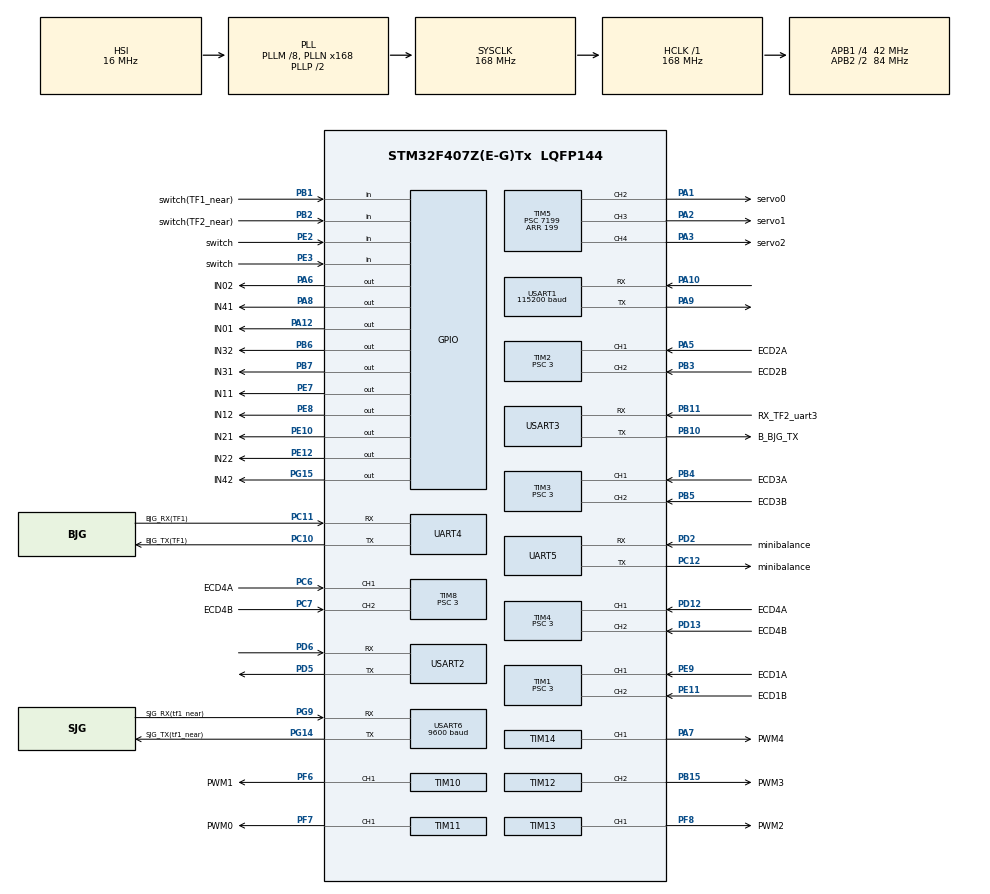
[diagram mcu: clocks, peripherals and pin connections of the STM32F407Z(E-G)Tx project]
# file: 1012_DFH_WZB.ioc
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Dma.Request0=USART6_RX
Dma.Request1=USART6_TX
Dma.Request10=USART1_TX
Dma.Request2=USART3_RX
Dma.Request3=USART3_TX
Dma.Request4=UART4_RX
Dma.Request5=UART5_RX
Dma.Request6=UART5_TX
Dma.Request7=USART2_RX
Dma.Request8=USART2_TX
Dma.Request9=USART1_RX
Dma.UART4_RX.4.Direction=DMA_PERIPH_TO_MEMORY
Dma.UART4_RX.4.FIFOMode=DMA_FIFOMODE_DISABLE
Dma.UART4_RX.4.Instance=DMA1_Stream2
Dma.UART4_RX.4.MemDataAlignment=DMA_MDATAALIGN_BYTE
Dma.UART4_RX.4.MemInc=DMA_MINC_ENABLE
Dma.UART4_RX.4.Mode=DMA_CIRCULAR
Dma.UART4_RX.4.PeriphDataAlignment=DMA_PDATAALIGN_BYTE
Dma.UART4_RX.4.PeriphInc=DMA_PINC_DISABLE
Dma.UART4_RX.4.Priority=DMA_PRIORITY_LOW
Dma.UART5_RX.5.Direction=DMA_PERIPH_TO_MEMORY
Dma.UART5_RX.5.FIFOMode=DMA_FIFOMODE_DISABLE
Dma.UART5_RX.5.Instance=DMA1_Stream0
Dma.UART5_RX.5.MemDataAlignment=DMA_MDATAALIGN_BYTE
Dma.UART5_RX.5.MemInc=DMA_MINC_ENABLE
Dma.UART5_RX.5.Mode=DMA_NORMAL
Dma.UART5_RX.5.PeriphDataAlignment=DMA_PDATAALIGN_BYTE
Dma.UART5_RX.5.PeriphInc=DMA_PINC_DISABLE
Dma.UART5_RX.5.Priority=DMA_PRIORITY_HIGH
Dma.UART5_TX.6.Direction=DMA_MEMORY_TO_PERIPH
Dma.UART5_TX.6.FIFOMode=DMA_FIFOMODE_DISABLE
Dma.UART5_TX.6.Instance=DMA1_Stream7
Dma.UART5_TX.6.MemDataAlignment=DMA_MDATAALIGN_BYTE
Dma.UART5_TX.6.MemInc=DMA_MINC_ENABLE
Dma.UART5_TX.6.Mode=DMA_NORMAL
Dma.UART5_TX.6.PeriphDataAlignment=DMA_PDATAALIGN_BYTE
Dma.UART5_TX.6.PeriphInc=DMA_PINC_DISABLE
Dma.UART5_TX.6.Priority=DMA_PRIORITY_HIGH
Dma.USART1_RX.9.Direction=DMA_PERIPH_TO_MEMORY
Dma.USART1_RX.9.FIFOMode=DMA_FIFOMODE_DISABLE
Dma.USART1_RX.9.Instance=DMA2_Stream2
Dma.USART1_RX.9.MemDataAlignment=DMA_MDATAALIGN_BYTE
Dma.USART1_RX.9.MemInc=DMA_MINC_ENABLE
Dma.USART1_RX.9.Mode=DMA_NORMAL
Dma.USART1_RX.9.PeriphDataAlignment=DMA_PDATAALIGN_BYTE
Dma.USART1_RX.9.PeriphInc=DMA_PINC_DISABLE
Dma.USART1_RX.9.Priority=DMA_PRIORITY_LOW
Dma.USART1_TX.10.Direction=DMA_MEMORY_TO_PERIPH
Dma.USART1_TX.10.FIFOMode=DMA_FIFOMODE_DISABLE
Dma.USART1_TX.10.Instance=DMA2_Stream7
Dma.USART1_TX.10.MemDataAlignment=DMA_MDATAALIGN_BYTE
Dma.USART1_TX.10.MemInc=DMA_MINC_ENABLE
Dma.USART1_TX.10.Mode=DMA_NORMAL
Dma.USART1_TX.10.PeriphDataAlignment=DMA_PDATAALIGN_BYTE
Dma.USART1_TX.10.PeriphInc=DMA_PINC_DISABLE
Dma.USART1_TX.10.Priority=DMA_PRIORITY_LOW
Dma.USART2_RX.7.Direction=DMA_PERIPH_TO_MEMORY
Dma.USART2_RX.7.FIFOMode=DMA_FIFOMODE_DISABLE
Dma.USART2_RX.7.Instance=DMA1_Stream5
Dma.USART2_RX.7.MemDataAlignment=DMA_MDATAALIGN_BYTE
Dma.USART2_RX.7.MemInc=DMA_MINC_ENABLE
Dma.USART2_RX.7.Mode=DMA_NORMAL
Dma.USART2_RX.7.PeriphDataAlignment=DMA_PDATAALIGN_BYTE
Dma.USART2_RX.7.PeriphInc=DMA_PINC_DISABLE
Dma.USART2_RX.7.Priority=DMA_PRIORITY_LOW
Dma.USART2_TX.8.Direction=DMA_MEMORY_TO_PERIPH
Dma.USART2_TX.8.FIFOMode=DMA_FIFOMODE_DISABLE
Dma.USART2_TX.8.Instance=DMA1_Stream6
Dma.USART2_TX.8.MemDataAlignment=DMA_MDATAALIGN_BYTE
Dma.USART2_TX.8.MemInc=DMA_MINC_ENABLE
Dma.USART2_TX.8.Mode=DMA_NORMAL
Dma.USART2_TX.8.PeriphDataAlignment=DMA_PDATAALIGN_BYTE
Dma.USART2_TX.8.PeriphInc=DMA_PINC_DISABLE
Dma.USART2_TX.8.Priority=DMA_PRIORITY_LOW
Dma.USART3_RX.2.Direction=DMA_PERIPH_TO_MEMORY
Dma.USART3_RX.2.FIFOMode=DMA_FIFOMODE_DISABLE
Dma.USART3_RX.2.Instance=DMA1_Stream1
Dma.USART3_RX.2.MemDataAlignment=DMA_MDATAALIGN_BYTE
Dma.USART3_RX.2.MemInc=DMA_MINC_ENABLE
Dma.USART3_RX.2.Mode=DMA_CIRCULAR
Dma.USART3_RX.2.PeriphDataAlignment=DMA_PDATAALIGN_BYTE
Dma.USART3_RX.2.PeriphInc=DMA_PINC_DISABLE
Dma.USART3_RX.2.Priority=DMA_PRIORITY_HIGH
Dma.USART3_TX.3.Direction=DMA_MEMORY_TO_PERIPH
Dma.USART3_TX.3.FIFOMode=DMA_FIFOMODE_DISABLE
Dma.USART3_TX.3.Instance=DMA1_Stream3
Dma.USART3_TX.3.MemDataAlignment=DMA_MDATAALIGN_BYTE
Dma.USART3_TX.3.MemInc=DMA_MINC_ENABLE
Dma.USART3_TX.3.Mode=DMA_CIRCULAR
Dma.USART3_TX.3.PeriphDataAlignment=DMA_PDATAALIGN_BYTE
Dma.USART3_TX.3.PeriphInc=DMA_PINC_DISABLE
Dma.USART3_TX.3.Priority=DMA_PRIORITY_HIGH
Dma.USART6_RX.0.Direction=DMA_PERIPH_TO_MEMORY
Dma.USART6_RX.0.FIFOMode=DMA_FIFOMODE_DISABLE
Dma.USART6_RX.0.Instance=DMA2_Stream1
Dma.USART6_RX.0.MemDataAlignment=DMA_MDATAALIGN_BYTE
Dma.USART6_RX.0.MemInc=DMA_MINC_ENABLE
Dma.USART6_RX.0.Mode=DMA_CIRCULAR
Dma.USART6_RX.0.PeriphDataAlignment=DMA_PDATAALIGN_BYTE
Dma.USART6_RX.0.PeriphInc=DMA_PINC_DISABLE
Dma.USART6_RX.0.Priority=DMA_PRIORITY_HIGH
Dma.USART6_TX.1.Direction=DMA_MEMORY_TO_PERIPH
Dma.USART6_TX.1.FIFOMode=DMA_FIFOMODE_DISABLE
Dma.USART6_TX.1.Instance=DMA2_Stream6
Dma.USART6_TX.1.MemDataAlignment=DMA_MDATAALIGN_BYTE
Dma.USART6_TX.1.MemInc=DMA_MINC_ENABLE
Dma.USART6_TX.1.Mode=DMA_CIRCULAR
Dma.USART6_TX.1.PeriphDataAlignment=DMA_PDATAALIGN_BYTE
Dma.USART6_TX.1.PeriphInc=DMA_PINC_DISABLE
Dma.USART6_TX.1.Priority=DMA_PRIORITY_HIGH
FREERTOS.INCLUDE_vTaskDelayUntil=1
FREERTOS.Tasks01=defaultTask,0,128,StartDefaultTask,Default,NULL,Dynamic,NULL,NULL;Vision,0,128,Vision_TASK,Default,NULL,Dynamic,NULL,NULL
FREERTOS.Timers01=Chassis,Chassis_TASK,osTimerPeriodic,Default,NULL,Dynamic,NULL;Path,Path_TASK,osTimerPeriodic,Default,NULL,Dynamic,NULL
FREERTOS.configTIMER_TASK_PRIORITY=6
FREERTOS.configUSE_TIMERS=1
Mcu.Family=STM32F4
Mcu.Name=STM32F407Z(E-G)Tx
Mcu.Package=LQFP144
NVIC.DMA1_Stream0_IRQn=true\:0\:0\:false\:false\:true\:true\:false\:true
NVIC.DMA1_Stream1_IRQn=true\:5\:0\:true\:false\:true\:true\:false\:true
NVIC.DMA1_Stream2_IRQn=true\:0\:0\:false\:false\:true\:true\:false\:true
NVIC.DMA1_Stream3_IRQn=true\:5\:0\:true\:false\:true\:true\:false\:true
NVIC.DMA1_Stream5_IRQn=true\:0\:0\:false\:false\:true\:true\:false\:true
NVIC.DMA1_Stream6_IRQn=true\:0\:0\:false\:false\:true\:true\:false\:true
NVIC.DMA1_Stream7_IRQn=true\:0\:0\:false\:false\:true\:true\:false\:true
NVIC.DMA2_Stream1_IRQn=true\:5\:0\:true\:false\:true\:true\:false\:true
NVIC.DMA2_Stream2_IRQn=true\:0\:0\:false\:false\:true\:true\:false\:true
NVIC.DMA2_Stream6_IRQn=true\:5\:0\:true\:false\:true\:true\:false\:true
NVIC.DMA2_Stream7_IRQn=true\:0\:0\:false\:false\:true\:true\:false\:true
NVIC.PriorityGroup=NVIC_PRIORITYGROUP_4
NVIC.TIM1_BRK_TIM9_IRQn=true\:0\:0\:false\:false\:true\:true\:true\:true
NVIC.TIM5_IRQn=true\:0\:0\:false\:false\:true\:true\:true\:true
NVIC.TIM6_DAC_IRQn=true\:0\:0\:false\:false\:true\:false\:false\:true
NVIC.TIM8_CC_IRQn=true\:0\:0\:false\:false\:true\:true\:true\:true
NVIC.TimeBase=TIM6_DAC_IRQn
NVIC.TimeBaseIP=TIM6
NVIC.UART4_IRQn=true\:5\:0\:true\:false\:true\:true\:true\:true
NVIC.UART5_IRQn=true\:5\:0\:true\:false\:true\:true\:true\:true
NVIC.USART1_IRQn=true\:0\:0\:false\:false\:true\:true\:true\:true
NVIC.USART2_IRQn=true\:0\:0\:false\:false\:true\:true\:true\:true
NVIC.USART3_IRQn=true\:5\:0\:true\:false\:true\:true\:true\:true
NVIC.USART6_IRQn=true\:5\:0\:true\:false\:true\:false\:true\:true
PA1.GPIO_Label=servo0
PA1.GPIO_Speed=GPIO_SPEED_FREQ_VERY_HIGH
PA1.Signal=S_TIM5_CH2
PA10.Mode=Asynchronous
PA10.Signal=USART1_RX
PA12.GPIO_Label=IN01
PA12.GPIO_ModeDefaultOutputPP=GPIO_MODE_OUTPUT_OD
PA12.GPIO_PuPd=GPIO_PULLUP
PA12.GPIO_Speed=GPIO_SPEED_FREQ_VERY_HIGH
PA12.Signal=GPIO_Output
PA13.Mode=Serial_Wire
PA13.Signal=SYS_JTMS-SWDIO
PA14.Mode=Serial_Wire
PA14.Signal=SYS_JTCK-SWCLK
PA2.GPIO_Label=servo1
PA2.GPIO_Speed=GPIO_SPEED_FREQ_VERY_HIGH
PA2.Signal=S_TIM5_CH3
PA3.GPIO_Label=servo2
PA3.GPIO_Speed=GPIO_SPEED_FREQ_VERY_HIGH
PA3.Signal=S_TIM5_CH4
PA5.GPIO_Label=ECD2A
PA5.GPIO_Speed=GPIO_SPEED_FREQ_HIGH
PA5.Signal=S_TIM2_CH1_ETR
PA6.GPIO_Label=IN02
PA6.GPIO_ModeDefaultOutputPP=GPIO_MODE_OUTPUT_OD
PA6.GPIO_PuPd=GPIO_PULLUP
PA6.GPIO_Speed=GPIO_SPEED_FREQ_VERY_HIGH
PA6.Signal=GPIO_Output
PA7.GPIO_Label=PWM4
PA7.GPIO_Speed=GPIO_SPEED_FREQ_VERY_HIGH
PA7.Signal=S_TIM14_CH1
PA8.GPIO_Label=IN41
PA8.GPIO_ModeDefaultOutputPP=GPIO_MODE_OUTPUT_OD
PA8.GPIO_PuPd=GPIO_PULLUP
PA8.GPIO_Speed=GPIO_SPEED_FREQ_VERY_HIGH
PA8.PinState=GPIO_PIN_RESET
PA8.Signal=GPIO_Output
PA9.Mode=Asynchronous
PA9.Signal=USART1_TX
PB1.GPIO_Label=switch(TF1_near)
PB1.Signal=GPIO_Input
PB10.GPIO_Label=B_BJG_TX
PB10.Mode=Asynchronous
PB10.Signal=USART3_TX
PB11.GPIO_Label=RX_TF2_uart3
PB11.Mode=Asynchronous
PB11.Signal=USART3_RX
PB15.GPIO_Label=PWM3
PB15.GPIO_Speed=GPIO_SPEED_FREQ_VERY_HIGH
PB15.Signal=S_TIM12_CH2
PB2.GPIO_Label=switch(TF2_near)
PB2.Signal=GPIO_Input
PB3.GPIO_Label=ECD2B
PB3.GPIO_Speed=GPIO_SPEED_FREQ_HIGH
PB3.Signal=S_TIM2_CH2
PB4.GPIO_Label=ECD3A
PB4.GPIO_Speed=GPIO_SPEED_FREQ_HIGH
PB4.Signal=S_TIM3_CH1
PB5.GPIO_Label=ECD3B
PB5.GPIO_Speed=GPIO_SPEED_FREQ_HIGH
PB5.Signal=S_TIM3_CH2
PB6.GPIO_Label=IN32
PB6.GPIO_ModeDefaultOutputPP=GPIO_MODE_OUTPUT_OD
PB6.GPIO_PuPd=GPIO_PULLUP
PB6.GPIO_Speed=GPIO_SPEED_FREQ_VERY_HIGH
PB6.Signal=GPIO_Output
PB7.GPIO_Label=IN31
PB7.GPIO_ModeDefaultOutputPP=GPIO_MODE_OUTPUT_OD
PB7.GPIO_PuPd=GPIO_PULLUP
PB7.GPIO_Speed=GPIO_SPEED_FREQ_VERY_HIGH
PB7.Signal=GPIO_Output
PC10.GPIO_Label=BJG_TX(TF1)
PC10.Mode=Asynchronous
PC10.Signal=UART4_TX
PC11.GPIO_Label=BJG_RX(TF1)
PC11.Mode=Asynchronous
PC11.Signal=UART4_RX
PC12.GPIO_Label=minibalance
PC12.Mode=Asynchronous
PC12.Signal=UART5_TX
PC6.GPIO_Label=ECD4A
PC6.GPIO_Speed=GPIO_SPEED_FREQ_HIGH
PC6.Signal=S_TIM8_CH1
PC7.GPIO_Label=ECD4B
PC7.GPIO_Speed=GPIO_SPEED_FREQ_HIGH
PC7.Signal=S_TIM8_CH2
PD12.GPIO_Label=ECD4A
PD12.GPIO_Speed=GPIO_SPEED_FREQ_HIGH
PD12.Signal=S_TIM4_CH1
PD13.GPIO_Label=ECD4B
PD13.GPIO_Speed=GPIO_SPEED_FREQ_HIGH
PD13.Signal=S_TIM4_CH2
PD2.GPIO_Label=minibalance
PD2.Mode=Asynchronous
PD2.Signal=UART5_RX
PD5.Mode=Asynchronous
PD5.Signal=USART2_TX
PD6.Mode=Asynchronous
PD6.Signal=USART2_RX
PE10.GPIO_Label=IN21
PE10.GPIO_ModeDefaultOutputPP=GPIO_MODE_OUTPUT_OD
PE10.GPIO_PuPd=GPIO_PULLUP
PE10.GPIO_Speed=GPIO_SPEED_FREQ_VERY_HIGH
PE10.PinState=GPIO_PIN_RESET
PE10.Signal=GPIO_Output
PE11.GPIO_Label=ECD1B
PE11.GPIO_Speed=GPIO_SPEED_FREQ_HIGH
PE11.Signal=S_TIM1_CH2
PE12.GPIO_Label=IN22
PE12.GPIO_ModeDefaultOutputPP=GPIO_MODE_OUTPUT_OD
PE12.GPIO_PuPd=GPIO_PULLUP
PE12.GPIO_Speed=GPIO_SPEED_FREQ_VERY_HIGH
PE12.Signal=GPIO_Output
PE2.GPIO_Label=switch
PE2.Signal=GPIO_Input
PE3.GPIO_Label=switch
PE3.Signal=GPIO_Input
PE7.GPIO_Label=IN11
PE7.GPIO_ModeDefaultOutputPP=GPIO_MODE_OUTPUT_OD
PE7.GPIO_PuPd=GPIO_PULLUP
PE7.GPIO_Speed=GPIO_SPEED_FREQ_VERY_HIGH
PE7.Signal=GPIO_Output
PE8.GPIO_Label=IN12
PE8.GPIO_ModeDefaultOutputPP=GPIO_MODE_OUTPUT_OD
PE8.GPIO_PuPd=GPIO_PULLUP
PE8.GPIO_Speed=GPIO_SPEED_FREQ_VERY_HIGH
PE8.Signal=GPIO_Output
PE9.GPIO_Label=ECD1A
PE9.GPIO_Speed=GPIO_SPEED_FREQ_HIGH
PE9.Signal=S_TIM1_CH1
PF6.GPIO_Label=PWM1
PF6.GPIO_Speed=GPIO_SPEED_FREQ_VERY_HIGH
PF6.Signal=S_TIM10_CH1
PF7.GPIO_Label=PWM0
PF7.GPIO_Speed=GPIO_SPEED_FREQ_VERY_HIGH
PF7.Signal=S_TIM11_CH1
PF8.GPIO_Label=PWM2
PF8.GPIO_Speed=GPIO_SPEED_FREQ_VERY_HIGH
PF8.Signal=S_TIM13_CH1
PG14.GPIO_Label=SJG_TX(tf1_near)
PG14.Mode=Asynchronous
PG14.Signal=USART6_TX
PG15.GPIO_Label=IN42
PG15.GPIO_ModeDefaultOutputPP=GPIO_MODE_OUTPUT_OD
PG15.GPIO_PuPd=GPIO_PULLUP
PG15.GPIO_Speed=GPIO_SPEED_FREQ_VERY_HIGH
PG15.PinState=GPIO_PIN_RESET
PG15.Signal=GPIO_Output
PG9.GPIO_Label=SJG_RX(tf1_near)
PG9.Mode=Asynchronous
PG9.Signal=USART6_RX
PH0-OSC_IN.Mode=HSE-External-Oscillator
PH0-OSC_IN.Signal=RCC_OSC_IN
PH1-OSC_OUT.Mode=HSE-External-Oscillator
PH1-OSC_OUT.Signal=RCC_OSC_OUT
ProjectManager.HeapSize=0x200
ProjectManager.StackSize=0x400
ProjectManager.TargetToolchain=MDK-ARM V5.27
RCC.48MHZClocksFreq_Value=84000000
RCC.AHBFreq_Value=168000000
RCC.APB1CLKDivider=RCC_HCLK_DIV4
RCC.APB1Freq_Value=42000000
RCC.APB1TimFreq_Value=84000000
RCC.APB2CLKDivider=RCC_HCLK_DIV2
RCC.APB2Freq_Value=84000000
RCC.APB2TimFreq_Value=168000000
RCC.CortexFreq_Value=168000000
RCC.HCLKFreq_Value=168000000
RCC.HSE_VALUE=25000000
RCC.HSI_VALUE=16000000
RCC.LSE_VALUE=32768
RCC.PLLM=8
RCC.PLLN=168
RCC.SYSCLKFreq_VALUE=168000000
RCC.SYSCLKSource=RCC_SYSCLKSOURCE_PLLCLK
RCC.VCOOutputFreq_Value=336000000
SH.S_TIM10_CH1.0=TIM10_CH1,PWM Generation1 CH1
SH.S_TIM11_CH1.0=TIM11_CH1,PWM Generation1 CH1
SH.S_TIM12_CH2.0=TIM12_CH2,PWM Generation2 CH2
SH.S_TIM13_CH1.0=TIM13_CH1,PWM Generation1 CH1
SH.S_TIM14_CH1.0=TIM14_CH1,PWM Generation1 CH1
SH.S_TIM1_CH1.0=TIM1_CH1,Encoder_Interface
SH.S_TIM1_CH2.0=TIM1_CH2,Encoder_Interface
SH.S_TIM2_CH1_ETR.0=TIM2_CH1,Encoder_Interface
SH.S_TIM2_CH2.0=TIM2_CH2,Encoder_Interface
SH.S_TIM3_CH1.0=TIM3_CH1,Encoder_Interface
SH.S_TIM3_CH2.0=TIM3_CH2,Encoder_Interface
SH.S_TIM4_CH1.0=TIM4_CH1,Encoder_Interface
SH.S_TIM4_CH2.0=TIM4_CH2,Encoder_Interface
SH.S_TIM5_CH2.0=TIM5_CH2,PWM Generation2 CH2
SH.S_TIM5_CH3.0=TIM5_CH3,PWM Generation3 CH3
SH.S_TIM5_CH4.0=TIM5_CH4,PWM Generation4 CH4
SH.S_TIM8_CH1.0=TIM8_CH1,Encoder_Interface
SH.S_TIM8_CH2.0=TIM8_CH2,Encoder_Interface
TIM1.AutoReloadPreload=TIM_AUTORELOAD_PRELOAD_DISABLE
TIM1.EncoderMode=TIM_ENCODERMODE_TI12
TIM1.Period=65535
TIM1.Prescaler=3
TIM10.AutoReloadPreload=TIM_AUTORELOAD_PRELOAD_ENABLE
TIM10.Channel=TIM_CHANNEL_1
TIM10.Period=8399
TIM10.Prescaler=1
TIM11.AutoReloadPreload=TIM_AUTORELOAD_PRELOAD_ENABLE
TIM11.Channel=TIM_CHANNEL_1
TIM11.Period=8399
TIM11.Prescaler=1
TIM12.AutoReloadPreload=TIM_AUTORELOAD_PRELOAD_ENABLE
TIM12.Channel-PWM\ Generation2\ CH2=TIM_CHANNEL_2
TIM12.Period=8399
TIM13.AutoReloadPreload=TIM_AUTORELOAD_PRELOAD_ENABLE
TIM13.Channel=TIM_CHANNEL_1
TIM13.Period=8399
TIM14.AutoReloadPreload=TIM_AUTORELOAD_PRELOAD_ENABLE
TIM14.Channel=TIM_CHANNEL_1
TIM14.Period=8399
TIM2.AutoReloadPreload=TIM_AUTORELOAD_PRELOAD_DISABLE
TIM2.EncoderMode=TIM_ENCODERMODE_TI12
TIM2.Period=65535
TIM2.Prescaler=3
TIM3.AutoReloadPreload=TIM_AUTORELOAD_PRELOAD_DISABLE
TIM3.EncoderMode=TIM_ENCODERMODE_TI12
TIM3.Period=65535
TIM3.Prescaler=3
TIM4.AutoReloadPreload=TIM_AUTORELOAD_PRELOAD_DISABLE
TIM4.EncoderMode=TIM_ENCODERMODE_TI12
TIM4.Period=65535
TIM4.Prescaler=3
TIM5.AutoReloadPreload=TIM_AUTORELOAD_PRELOAD_ENABLE
TIM5.Channel-Output\ Compare4\ CH4=TIM_CHANNEL_4
TIM5.Channel-PWM\ Generation2\ CH2=TIM_CHANNEL_2
TIM5.Channel-PWM\ Generation3\ CH3=TIM_CHANNEL_3
TIM5.Channel-PWM\ Generation4\ CH4=TIM_CHANNEL_4
TIM5.Period=199
TIM5.Prescaler=7199
TIM8.AutoReloadPreload=TIM_AUTORELOAD_PRELOAD_ENABLE
TIM8.EncoderMode=TIM_ENCODERMODE_TI12
TIM8.Period=0xFFFF
TIM8.Prescaler=3
UART4.VirtualMode=Asynchronous
UART5.VirtualMode=Asynchronous
USART1.BaudRate=115200
USART1.VirtualMode=VM_ASYNC
USART2.VirtualMode=VM_ASYNC
USART3.VirtualMode=VM_ASYNC
USART6.BaudRate=9600
USART6.VirtualMode=VM_ASYNC
VP_FREERTOS_VS_CMSIS_V1.Mode=CMSIS_V1
VP_SYS_VS_tim6.Mode=TIM6
VP_TIM10_VS_ClockSourceINT.Mode=Enable_Timer
VP_TIM11_VS_ClockSourceINT.Mode=Enable_Timer
VP_TIM13_VS_ClockSourceINT.Mode=Enable_Timer
VP_TIM14_VS_ClockSourceINT.Mode=Enable_Timer
VP_TIM5_VS_ClockSourceINT.Mode=Internal
board=custom

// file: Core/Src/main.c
/* USER CODE BEGIN Header */
/**
  ******************************************************************************
  * @file           : main.c
  * @brief          : Main program body
  ******************************************************************************
  * @attention
  *
  * <h2><center>&copy; Copyright (c) 2021 STMicroelectronics.
  * All rights reserved.</center></h2>
  *
  * This software component is licensed by ST under Ultimate Liberty license
  * SLA0044, the "License"; You may not use this file except in compliance with
  * the License. You may obtain a copy of the License at:
  *                             www.st.com/SLA0044
  *
  ******************************************************************************
  */
/* USER CODE END Header */
#include "main.h"
#include "cmsis_os.h"
#include "dma.h"
#include "tim.h"
#include "usart.h"
#include "gpio.h"

/* USER CODE BEGIN Includes */
#include "stm32f4xx_it.h"
#include "chassis_task.h"
#include "pid.h"
#include "bsp_sjg.h"
#include "bsp_bjg.h"
#include "bsp_motor.h"
#include "filter.h"
#include "path_task.h"
/* USER CODE END Includes */

/* USER CODE BEGIN PTD */
void Data_Collect_Init(void);
/* USER CODE END PTD */

void SystemClock_Config(void);
void MX_FREERTOS_Init(void);

int main(void)
{

  /* MCU Configuration--------------------------------------------------------*/

  /* Reset of all peripherals, Initializes the Flash interface and the Systick. */
  HAL_Init();

  /* Configure the system clock */
  SystemClock_Config();

  /* Initialize all configured peripherals */
  MX_GPIO_Init();
  MX_DMA_Init();
  MX_USART6_UART_Init();
  MX_USART3_UART_Init();
  MX_UART4_Init();
  MX_UART5_Init();
  MX_TIM1_Init();
  MX_TIM2_Init();
  MX_TIM3_Init();
  MX_TIM4_Init();
  MX_TIM5_Init();
  MX_TIM10_Init();
  MX_TIM11_Init();
  MX_TIM12_Init();
  MX_TIM13_Init();
  MX_TIM14_Init();
  MX_USART2_UART_Init();
  MX_USART1_UART_Init();
  MX_TIM8_Init();
  /* USER CODE BEGIN 2 */
  Data_Collect_Init();
  //MY_LPFO_init();
  Ctrl_Mode = Y_Mode1;	//初始化为开局模式
  path_flag = 0;
  /* USER CODE END 2 */

  /* Call init function for freertos objects (in freertos.c) */
  MX_FREERTOS_Init();
  /* Start scheduler */
  osKernelStart();

  /* We should never get here as control is now taken by the scheduler */
  /* Infinite loop */
  while (1)
  {

  }
}

void SystemClock_Config(void)
{
  RCC_OscInitTypeDef RCC_OscInitStruct = {0};
  RCC_ClkInitTypeDef RCC_ClkInitStruct = {0};

  /** Configure the main internal regulator output voltage
  */
  __HAL_RCC_PWR_CLK_ENABLE();
  __HAL_PWR_VOLTAGESCALING_CONFIG(PWR_REGULATOR_VOLTAGE_SCALE1);
  /** Initializes the RCC Oscillators according to the specified parameters
  * in the RCC_OscInitTypeDef structure.
  */
  RCC_OscInitStruct.OscillatorType = RCC_OSCILLATORTYPE_HSI;
  RCC_OscInitStruct.HSIState = RCC_HSI_ON;
  RCC_OscInitStruct.HSICalibrationValue = RCC_HSICALIBRATION_DEFAULT;
  RCC_OscInitStruct.PLL.PLLState = RCC_PLL_ON;
  RCC_OscInitStruct.PLL.PLLSource = RCC_PLLSOURCE_HSI;
  RCC_OscInitStruct.PLL.PLLM = 8;
  RCC_OscInitStruct.PLL.PLLN = 168;
  RCC_OscInitStruct.PLL.PLLP = RCC_PLLP_DIV2;
  RCC_OscInitStruct.PLL.PLLQ = 4;
  if (HAL_RCC_OscConfig(&RCC_OscInitStruct) != HAL_OK)
  {
    Error_Handler();
  }
  /** Initializes the CPU, AHB and APB buses clocks
  */
  RCC_ClkInitStruct.ClockType = RCC_CLOCKTYPE_HCLK|RCC_CLOCKTYPE_SYSCLK
                              |RCC_CLOCKTYPE_PCLK1|RCC_CLOCKTYPE_PCLK2;
  RCC_ClkInitStruct.SYSCLKSource = RCC_SYSCLKSOURCE_PLLCLK;
  RCC_ClkInitStruct.AHBCLKDivider = RCC_SYSCLK_DIV1;
  RCC_ClkInitStruct.APB1CLKDivider = RCC_HCLK_DIV4;
  RCC_ClkInitStruct.APB2CLKDivider = RCC_HCLK_DIV2;

  if (HAL_RCC_ClockConfig(&RCC_ClkInitStruct, FLASH_LATENCY_5) != HAL_OK)
  {
    Error_Handler();
  }
}

void HAL_TIM_PeriodElapsedCallback(TIM_HandleTypeDef *htim)
{
  if (htim->Instance == TIM6) {
    HAL_IncTick();
  }
}

void Error_Handler(void)
{
}

/************************ (C) COPYRIGHT STMicroelectronics *****END OF FILE****/

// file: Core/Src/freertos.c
/* USER CODE BEGIN Header */
/**
  ******************************************************************************
  * File Name          : freertos.c
  * Description        : Code for freertos applications
  ******************************************************************************
  * @attention
  *
  * <h2><center>&copy; Copyright (c) 2021 STMicroelectronics.
  * All rights reserved.</center></h2>
  *
  * This software component is licensed by ST under Ultimate Liberty license
  * SLA0044, the "License"; You may not use this file except in compliance with
  * the License. You may obtain a copy of the License at:
  *                             www.st.com/SLA0044
  *
  ******************************************************************************
  */
/* USER CODE END Header */

#include "FreeRTOS.h"
#include "task.h"
#include "main.h"
#include "cmsis_os.h"

/* USER CODE BEGIN Includes */
#include "bsp_switch.h"
#include "bsp_sjg.h"
#include "chassis_task.h"
#include "path_task.h"
#include "tim.h"
#include "DataScope_DP.h"
#include "vision_task.h"
/* USER CODE END Includes */

/* USER CODE BEGIN PD */
uint8_t tx_buf[] = "robomaster";
/* USER CODE END PD */

osThreadId defaultTaskHandle;
osThreadId VisionHandle;
osTimerId ChassisHandle;
osTimerId PathHandle;

void StartDefaultTask(void const * argument);
void Vision_TASK(void const * argument);
void Chassis_TASK(void const * argument);
void Path_TASK(void const * argument);

void MX_FREERTOS_Init(void); /* (MISRA C 2004 rule 8.1) */

/* GetIdleTaskMemory prototype (linked to static allocation support) */
void vApplicationGetIdleTaskMemory( StaticTask_t **ppxIdleTaskTCBBuffer, StackType_t **ppxIdleTaskStackBuffer, uint32_t *pulIdleTaskStackSize );

/* GetTimerTaskMemory prototype (linked to static allocation support) */
void vApplicationGetTimerTaskMemory( StaticTask_t **ppxTimerTaskTCBBuffer, StackType_t **ppxTimerTaskStackBuffer, uint32_t *pulTimerTaskStackSize );

/* USER CODE BEGIN GET_IDLE_TASK_MEMORY */
static StaticTask_t xIdleTaskTCBBuffer;
static StackType_t xIdleStack[configMINIMAL_STACK_SIZE];

void vApplicationGetIdleTaskMemory( StaticTask_t **ppxIdleTaskTCBBuffer, StackType_t **ppxIdleTaskStackBuffer, uint32_t *pulIdleTaskStackSize )
{
  *ppxIdleTaskTCBBuffer = &xIdleTaskTCBBuffer;
  *ppxIdleTaskStackBuffer = &xIdleStack[0];
  *pulIdleTaskStackSize = configMINIMAL_STACK_SIZE;
  /* place for user code */
}
/* USER CODE END GET_IDLE_TASK_MEMORY */

/* USER CODE BEGIN GET_TIMER_TASK_MEMORY */
static StaticTask_t xTimerTaskTCBBuffer;
static StackType_t xTimerStack[configTIMER_TASK_STACK_DEPTH];

void vApplicationGetTimerTaskMemory( StaticTask_t **ppxTimerTaskTCBBuffer, StackType_t **ppxTimerTaskStackBuffer, uint32_t *pulTimerTaskStackSize )
{
  *ppxTimerTaskTCBBuffer = &xTimerTaskTCBBuffer;
  *ppxTimerTaskStackBuffer = &xTimerStack[0];
  *pulTimerTaskStackSize = configTIMER_TASK_STACK_DEPTH;
  /* place for user code */
}
/* USER CODE END GET_TIMER_TASK_MEMORY */

void MX_FREERTOS_Init(void) {

  /* Create the timer(s) */
  /* definition and creation of Chassis */
  osTimerDef(Chassis, Chassis_TASK);
  ChassisHandle = osTimerCreate(osTimer(Chassis), osTimerPeriodic, NULL);

  /* definition and creation of Path */
  osTimerDef(Path, Path_TASK);
  PathHandle = osTimerCreate(osTimer(Path), osTimerPeriodic, NULL);

  /* USER CODE BEGIN RTOS_TIMERS */
  /* start timers, add new ones, ... */
  osTimerStart(ChassisHandle,6);
  osTimerStart(PathHandle,2);
  /* USER CODE END RTOS_TIMERS */

  /* Create the thread(s) */
  /* definition and creation of defaultTask */
  osThreadDef(defaultTask, StartDefaultTask, osPriorityNormal, 0, 128);
  defaultTaskHandle = osThreadCreate(osThread(defaultTask), NULL);

  /* definition and creation of Vision */
  osThreadDef(Vision, Vision_TASK, osPriorityNormal, 0, 128);
  VisionHandle = osThreadCreate(osThread(Vision), NULL);

}

/* USER CODE BEGIN Header_StartDefaultTask */
/**
  * @brief  Function implementing the defaultTask thread.
  * @param  argument: Not used
  * @retval None
  */

uint32_t test_sw = 0;

/* USER CODE END Header_StartDefaultTask */
void StartDefaultTask(void const * argument)
{
  for(;;)
  {
    osDelay(1);
  }
}

void Vision_TASK(void const * argument)
{
  /* USER CODE BEGIN Vision_TASK */
  /* Infinite loop */
  for(;;)
  {

    taskENTER_CRITICAL();
//      Vision_Task();

//    osDelay(1);
    taskEXIT_CRITICAL();
  }
  /* USER CODE END Vision_TASK */
}

/* Chassis_TASK function */
void Chassis_TASK(void const * argument)
{
  /* USER CODE BEGIN Chassis_TASK */
    taskENTER_CRITICAL();

//    Gimbal_Cascade_PID(500);
    Chassis_Task();
//    minibalance();
    taskEXIT_CRITICAL();
  /* USER CODE END Chassis_TASK */
}

/* Path_TASK function */
void Path_TASK(void const * argument)
{
  /* USER CODE BEGIN Path_TASK */
    taskENTER_CRITICAL();

    Path_Task();
    taskEXIT_CRITICAL();
  /* USER CODE END Path_TASK */
}

/************************ (C) COPYRIGHT STMicroelectronics *****END OF FILE****/
